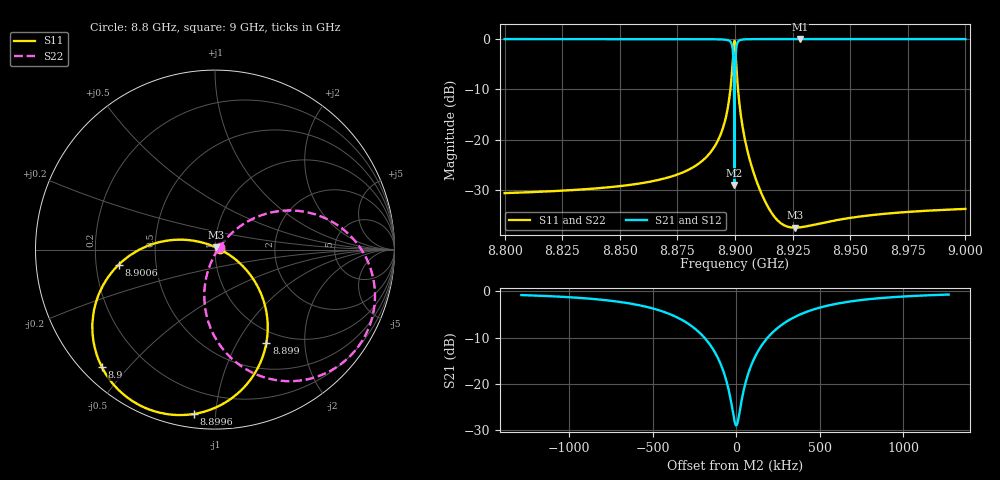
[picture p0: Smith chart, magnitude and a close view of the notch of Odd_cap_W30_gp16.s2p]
! Sonnet Data File
! From: emgraph Version : 16.52
! From Project: Resonator2_cp
! Data is De-embedded
! Data File Written: 10/07/2017 13:01:14
!< HDATE 10/07/2017 09:22:27
!< MDATE 10/07/2017 09:22:27
!< PARAMS
!< gap = 16.0
!< Length = 400.0
!< Pwid1 = 2000.0
!< Pwid2 = 2000.0
!< Air_gap = 18.0
!< Width = 30.0
!< END PARAMS
# GHZ S MA R 43.07000
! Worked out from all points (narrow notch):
!   1596 points, 8.8 GHz to 9 GHz, reference 43.07 ohm
!   highest |S21| = 0.00 dB at 8.9282 GHz (marker M1); lowest = -28.9 dB at 8.8998 GHz (marker M2)
!   notch at M2: 28.9 dB deep, 217 kHz wide at half that depth
!   lowest |S11| = -37.4 dB at 8.926 GHz (marker M3), VSWR 1.03, Z = 43.5 + j1.07 ohm
!   |S11| at or under -10 dB: start of sweep to 8.898 GHz; 8.9013 GHz to end of sweep
!   |S22| runs from -37.4 to -0.3 dB; largest |S21 - S12| = 0
!   S11 on the Smith chart (normalised r, x): 8.8 GHz: 1.06, +0.00; 8.899 GHz: 0.84, -1.33; 8.8996 GHz: 0.07, -0.88; 8.9 GHz: 0.06, -0.42; 8.9006 GHz: 0.30, -0.07; 9 GHz: 1.04, +0.01
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8.8  0.02965 2.1  0.9996 -73.8  0.9996 -73.8  0.02966 30.5
!< P1 F=8.8 Eeff=(5.15948137 -2.2525e-5) Z0=(43.0696006 9.54461e-5) R=0.0 C=0.0
!< P2 F=8.8 Eeff=(5.15948137 -2.2525e-5) Z0=(43.0696006 9.54461e-5) R=0.0 C=0.0
8.8334  0.03221 -0.7  0.9995 -74.2  0.9995 -74.2  0.03221 32.3
8.8668  0.04007 -6.6  0.9992 -75.0  0.9992 -75.0  0.04008 36.6
8.891  0.08493 -20.0  0.9962 -77.8  0.9962 -77.8  0.08498 44.2
8.897191  0.23 -34.7  0.9715 -86.3  0.9715 -86.3  0.2302 41.2
8.899  0.5918 -61.0  0.7905 -109.4  0.7905 -109.4  0.5923 19.3
8.899587  0.9234 -97.3  0.2896 -139.6  0.2896 -139.6  0.9244 -15.4
8.899683  0.9554 -106.6  0.1372 -140.6  0.1372 -140.6  0.9564 -24.3
8.89976  0.9637 -114.3  0.03578 -74.3  0.03578 -74.3  0.9647 -31.8
8.899845  0.9532 -122.8  0.1502 -5.2  0.1502 -5.2  0.9542 -40.1
8.89996  0.9088 -133.9  0.3332 -8.3  0.3332 -8.3  0.9097 -50.9
8.9  0.8875 -137.5  0.3897 -10.9  0.3897 -10.9  0.8884 -54.4
8.900574  0.5434 -171.1  0.8253 -40.2  0.8253 -40.2  0.544 -86.3
8.901423  0.2967 171.2  0.951 -55.8  0.951 -55.8  0.297 -101.4
8.9028  0.1592 160.5  0.986 -64.0  0.986 -64.0  0.1594 -107.5
8.9098  0.03658 136.1  0.9992 -71.2  0.9992 -71.2  0.03666 -98.2
8.9178  0.01653 101.7  0.9998 -72.7  0.9998 -72.7  0.01659 -66.9
8.926  0.01347 65.5  0.9999 -73.3  0.9999 -73.3  0.0135 -32.1
8.9282  0.01357 58.5  0.9999 -73.4  0.9999 -73.4  0.0136 -25.3
8.9334  0.01425 46.2  0.9999 -73.6  0.9999 -73.6  0.01427 -13.4
8.9668  0.01865 20.7  0.9998 -74.4  0.9998 -74.4  0.01866 10.5
9  0.02068 14.7  0.9998 -74.8  0.9998 -74.8  0.02068 15.7
